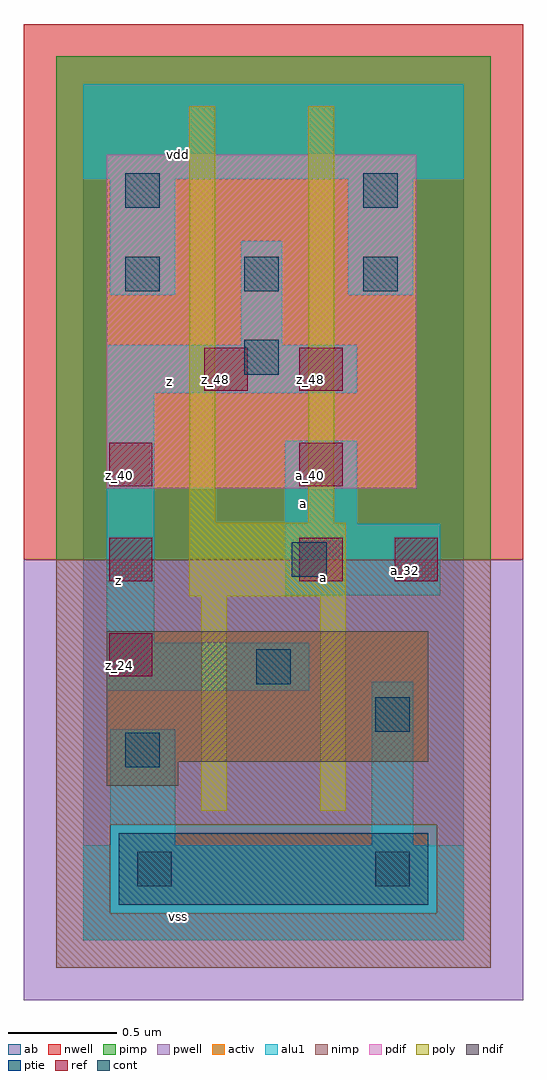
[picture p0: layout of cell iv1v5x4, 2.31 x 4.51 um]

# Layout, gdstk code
import gdstk
lib = gdstk.Library(unit=1e-6, precision=2.5e-09)
def R(c, l, rs):  # rectangles x0, y0, x1, y1
    for r in rs: c.add(gdstk.rectangle(r[:2], r[2:], *l))
def A(c, l, x, y, w, h, nx, ny, dx, dy):  # array of equal rectangles
    R(c, l, [(x+i*dx, y+j*dy, x+i*dx+w, y+j*dy+h) for i in range(nx) for j in range(ny)])
ndif = (3, 0)
pdif = (4, 0)
ptie = (6, 0)
ref = (24, 0)
cont = (25, 0)
pwell = (41, 0)
nwell = (42, 0)
activ = (43, 0)
pimp = (44, 0)
nimp = (45, 0)
poly = (46, 0)
alu1 = (49, 0)
ab = (63, 0)

iv1v5x4 = lib.new_cell('iv1v5x4')
R(iv1v5x4, ndif, [(0.11,0.715,0.44,0.825), (0.11,0.825,1.595,1.43)])
R(iv1v5x4, pdif, [(0.11,2.09,1.54,3.63)])
R(iv1v5x4, ptie, [(0.165,0.165,1.595,0.495)])
A(iv1v5x4, ref, 0.12, 1.22, 0.2, 0.2, 1, 3, 0, 0.44)
A(iv1v5x4, ref, 1, 1.66, 0.2, 0.2, 1, 3, 0, 0.44)
R(iv1v5x4, ref, [(1.44,1.66,1.64,1.86), (0.56,2.54,0.76,2.74)])
A(iv1v5x4, cont, 0.195, 3, 0.16, 0.16, 3, 1, 0.55, 0)
R(iv1v5x4, cont, [(0.25,0.25,0.41,0.41), (1.35,0.25,1.51,0.41), (0.195,0.8,0.355,0.96), (1.35,0.965,1.51,1.125), (0.8,1.185,0.96,1.345), (0.965,1.68,1.125,1.84), (0.745,2.615,0.905,2.775), (0.195,3.385,0.355,3.545), (1.295,3.385,1.455,3.545)])
R(iv1v5x4, pwell, [(-0.275,-0.275,2.035,1.76)])
R(iv1v5x4, nwell, [(-0.275,1.76,2.035,4.235)])
R(iv1v5x4, activ, [(0.165,0.165,1.595,0.495), (0.11,0.715,0.44,0.825), (0.11,0.825,1.595,1.43), (0.11,2.09,1.54,3.63)])
R(iv1v5x4, pimp, [(0.125,0.125,1.635,0.535), (-0.125,1.76,1.885,4.085)])
R(iv1v5x4, nimp, [(-0.125,-0.125,1.885,0.125), (-0.125,0.125,0.125,0.535), (1.635,0.125,1.885,0.535), (-0.125,0.535,1.885,1.76)])
R(iv1v5x4, poly, [(0.545,0.6,0.665,1.59), (1.095,0.6,1.215,1.59), (0.49,1.59,1.215,1.93), (0.49,1.93,0.61,3.855), (1.04,1.93,1.16,3.855)])
R(iv1v5x4, alu1, [(0,0,1.76,0.44), (0.125,0.44,0.425,0.975), (1.335,0.44,1.525,1.195), (0.11,1.155,1.045,1.375), (0.11,1.375,0.33,2.53), (0.935,1.595,1.65,1.925), (0.935,1.925,1.265,2.31), (0.11,2.53,1.265,2.75), (0.73,2.75,0.92,3.23), (0.125,2.985,0.425,3.52), (1.225,2.985,1.525,3.52), (0,3.52,1.76,3.96)])
R(iv1v5x4, ab, [(0,0,1.76,3.96)])
iv1v5x4.add(gdstk.Label('vss', (0.44,0.11), layer=49, texttype=0))
iv1v5x4.add(gdstk.Label('a', (1.1125,1.6775), layer=49, texttype=0))
iv1v5x4.add(gdstk.Label('a', (1.0175,2.02), layer=49, texttype=0))
iv1v5x4.add(gdstk.Label('z', (0.165,1.6625), layer=49, texttype=0))
iv1v5x4.add(gdstk.Label('z', (0.3975,2.585), layer=49, texttype=0))
iv1v5x4.add(gdstk.Label('vdd', (0.44,3.63), layer=49, texttype=0))
iv1v5x4.add(gdstk.Label('z_48', (0.61,2.59), layer=24, texttype=0))
iv1v5x4.add(gdstk.Label('a_32', (1.05,1.71), layer=24, texttype=0))
iv1v5x4.add(gdstk.Label('a_40', (1.05,2.15), layer=24, texttype=0))
iv1v5x4.add(gdstk.Label('z_48', (1.05,2.59), layer=24, texttype=0))
iv1v5x4.add(gdstk.Label('a_32', (1.49,1.71), layer=24, texttype=0))
iv1v5x4.add(gdstk.Label('z_24', (0.17,1.27), layer=24, texttype=0))
iv1v5x4.add(gdstk.Label('z_32', (0.17,1.71), layer=24, texttype=0))
iv1v5x4.add(gdstk.Label('z_40', (0.17,2.15), layer=24, texttype=0))

lib.write_gds('iv1v5x4.gds')
